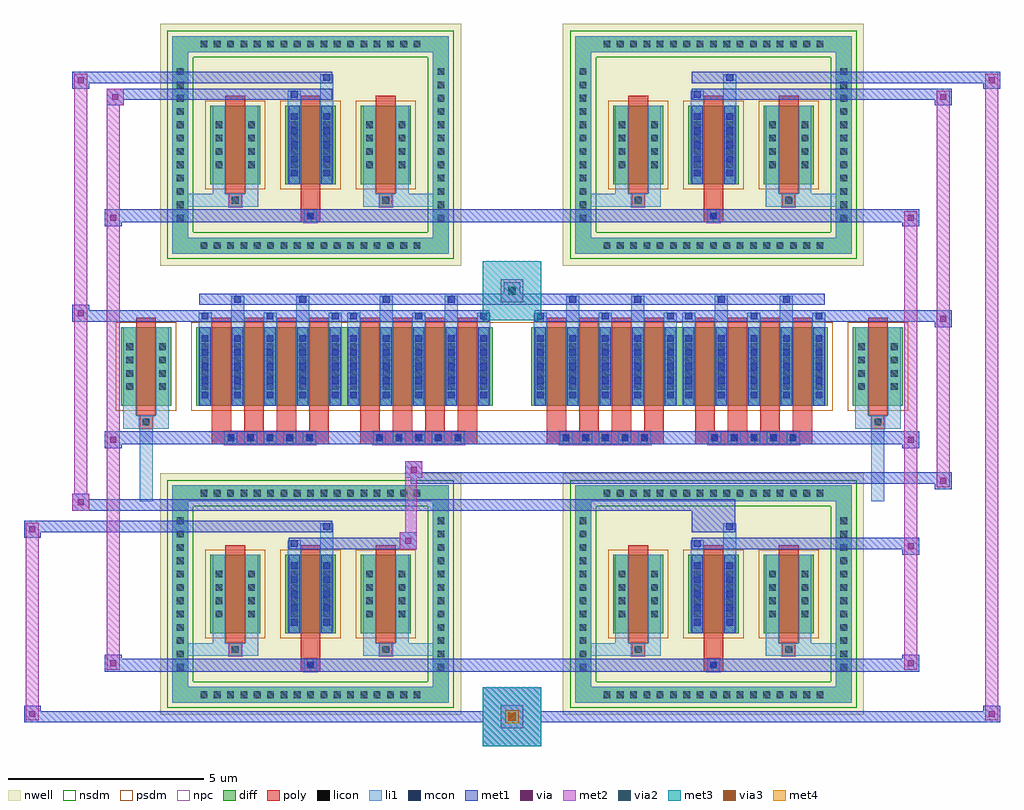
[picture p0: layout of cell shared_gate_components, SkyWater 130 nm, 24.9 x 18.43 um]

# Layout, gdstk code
import gdstk
lib = gdstk.Library(unit=1e-6, precision=5e-09)
def R(c, l, rs):  # rectangles x0, y0, x1, y1
    for r in rs: c.add(gdstk.rectangle(r[:2], r[2:], *l))
def A(c, l, x, y, w, h, nx, ny, dx, dy):  # array of equal rectangles
    R(c, l, [(x+i*dx, y+j*dy, x+i*dx+w, y+j*dy+h) for i in range(nx) for j in range(ny)])
def P(c, l, *ps):  # polygons
    for p in ps: c.add(gdstk.Polygon(p, *l))
nwell = (64, 20)
diff = (65, 20)
poly = (66, 20)
licon = (66, 44)
li1 = (67, 20)
mcon = (67, 44)
met1 = (68, 20)
via = (68, 44)
met2 = (69, 20)
via2 = (69, 44)
met3 = (70, 20)
via3 = (70, 44)
met4 = (71, 20)
nsdm = (93, 44)
psdm = (94, 20)
npc = (95, 20)

multiplier_4986c36a = lib.new_cell('multiplier_4986c36a')
R(multiplier_4986c36a, diff, [(-3.805,-1,-2.525,1), (-1.885,-1,1.885,1)])
A(multiplier_4986c36a, poly, -1.165, -1.98, 0.33, 0.33, 5, 1, 0.5, 0)
A(multiplier_4986c36a, poly, -1.495, -1.65, 0.5, 0.4, 4, 1, 0.83, 0)
A(multiplier_4986c36a, poly, -1.495, -1.25, 0.5, 2.5, 4, 1, 0.83, 0)
R(multiplier_4986c36a, poly, [(-1.495,-1.98,1.495,-1.65), (-3.33,-1.58,-3,-1.25), (-3.33,-1.58,-3,-1.25), (-3.415,-1.25,-2.915,1.25)])
A(multiplier_4986c36a, licon, -1.085, -1.9, 0.17, 0.17, 5, 1, 0.5, 0)
A(multiplier_4986c36a, licon, -3.665, -0.595, 0.17, 0.17, 1, 4, 0, 0.34)
A(multiplier_4986c36a, licon, -2.835, -0.595, 0.17, 0.17, 1, 4, 0, 0.34)
A(multiplier_4986c36a, licon, -1.745, -0.595, 0.17, 0.17, 5, 4, 0.83, 0.34)
R(multiplier_4986c36a, licon, [(-3.25,-1.5,-3.08,-1.33)])
A(multiplier_4986c36a, li1, -1.165, -1.98, 0.33, 0.33, 5, 1, 0.5, 0)
A(multiplier_4986c36a, li1, -1.825, -1, 0.33, 2, 5, 1, 0.83, 0)
A(multiplier_4986c36a, li1, -1.745, -0.805, 0.17, 0.17, 5, 5, 0.83, 0.36)
A(multiplier_4986c36a, li1, -1.745, -0.805, 0.17, 1.61, 5, 1, 0.83, 0)
A(multiplier_4986c36a, li1, -3.745, -0.675, 0.33, 0.33, 1, 4, 0, 0.34)
A(multiplier_4986c36a, li1, -2.915, -0.675, 0.33, 0.33, 1, 4, 0, 0.34)
A(multiplier_4986c36a, li1, -1.825, -0.675, 0.33, 0.33, 5, 4, 0.83, 0.34)
A(multiplier_4986c36a, li1, -1.825, 1, 0.33, 0.375, 3, 1, 1.66, 0)
A(multiplier_4986c36a, li1, -1.745, 1.205, 0.17, 0.17, 3, 1, 1.66, 0)
R(multiplier_4986c36a, li1, [(-3.745,-1.58,-3.33,-1.25), (-3.745,-1.58,-3.415,-1), (-3.33,-1.58,-3,-1.25), (-3,-1.58,-2.585,-1.25), (-2.915,-1.58,-2.585,-1), (-3.745,-1,-3.415,1), (-2.915,-1,-2.585,1), (-0.995,1,-0.665,1.805), (0.665,1,0.995,1.805), (-0.915,1.635,-0.745,1.805), (0.745,1.635,0.915,1.805)])
A(multiplier_4986c36a, mcon, -1.085, -1.9, 0.17, 0.17, 5, 1, 0.5, 0)
A(multiplier_4986c36a, mcon, -1.745, -0.805, 0.17, 0.17, 5, 5, 0.83, 0.36)
A(multiplier_4986c36a, mcon, -1.745, 1.205, 0.17, 0.17, 3, 1, 1.66, 0)
R(multiplier_4986c36a, mcon, [(-0.915,1.635,-0.745,1.805), (0.745,1.635,0.915,1.805)])
A(multiplier_4986c36a, met1, -1.145, -1.96, 0.29, 0.29, 5, 1, 0.5, 0)
A(multiplier_4986c36a, met1, -1.805, -1, 0.29, 2, 5, 1, 0.83, 0)
A(multiplier_4986c36a, met1, -1.805, -0.865, 0.29, 0.29, 5, 5, 0.83, 0.36)
A(multiplier_4986c36a, met1, -1.805, 1.145, 0.29, 0.29, 3, 1, 1.66, 0)
R(multiplier_4986c36a, met1, [(-1.495,-1.98,1.495,-1.65), (-1.805,1.145,1.805,1.435), (-1.805,1.575,1.805,1.865), (-0.975,1.575,-0.685,1.865), (0.685,1.575,0.975,1.865)])
R(multiplier_4986c36a, psdm, [(-3.935,-1.13,-2.395,1.13), (-2.015,-1.13,2.015,1.13)])
A(multiplier_4986c36a, npc, -1.185, -2, 0.37, 0.37, 5, 1, 0.5, 0)
R(multiplier_4986c36a, npc, [(-1.185,-2,-0.315,-1.63), (-1.185,-2,-0.315,-1.63), (-0.685,-2,0.185,-1.63), (-0.685,-2,0.185,-1.63), (-0.185,-2,0.685,-1.63), (-0.185,-2,0.685,-1.63), (0.315,-2,1.185,-1.63), (0.315,-2,1.185,-1.63), (-3.35,-1.6,-2.98,-1.23)])

multiplier_959d3e46 = lib.new_cell('multiplier_959d3e46')
R(multiplier_959d3e46, diff, [(-1.885,-1,1.885,1)])
A(multiplier_959d3e46, poly, -1.165, -1.98, 0.33, 0.33, 5, 1, 0.5, 0)
A(multiplier_959d3e46, poly, -1.495, -1.65, 0.5, 0.4, 4, 1, 0.83, 0)
A(multiplier_959d3e46, poly, -1.495, -1.25, 0.5, 2.5, 4, 1, 0.83, 0)
R(multiplier_959d3e46, poly, [(-1.495,-1.98,1.495,-1.65)])
A(multiplier_959d3e46, licon, -1.085, -1.9, 0.17, 0.17, 5, 1, 0.5, 0)
A(multiplier_959d3e46, licon, -1.745, -0.595, 0.17, 0.17, 5, 4, 0.83, 0.34)
A(multiplier_959d3e46, li1, -1.165, -1.98, 0.33, 0.33, 5, 1, 0.5, 0)
A(multiplier_959d3e46, li1, -1.825, -1, 0.33, 2, 5, 1, 0.83, 0)
A(multiplier_959d3e46, li1, -1.745, -0.805, 0.17, 0.17, 5, 5, 0.83, 0.36)
A(multiplier_959d3e46, li1, -1.745, -0.805, 0.17, 1.61, 5, 1, 0.83, 0)
A(multiplier_959d3e46, li1, -1.825, -0.675, 0.33, 0.33, 5, 4, 0.83, 0.34)
A(multiplier_959d3e46, li1, -1.825, 1, 0.33, 0.375, 3, 1, 1.66, 0)
A(multiplier_959d3e46, li1, -1.745, 1.205, 0.17, 0.17, 3, 1, 1.66, 0)
R(multiplier_959d3e46, li1, [(-0.995,1,-0.665,1.805), (0.665,1,0.995,1.805), (-0.915,1.635,-0.745,1.805), (0.745,1.635,0.915,1.805)])
A(multiplier_959d3e46, mcon, -1.085, -1.9, 0.17, 0.17, 5, 1, 0.5, 0)
A(multiplier_959d3e46, mcon, -1.745, -0.805, 0.17, 0.17, 5, 5, 0.83, 0.36)
A(multiplier_959d3e46, mcon, -1.745, 1.205, 0.17, 0.17, 3, 1, 1.66, 0)
R(multiplier_959d3e46, mcon, [(-0.915,1.635,-0.745,1.805), (0.745,1.635,0.915,1.805)])
A(multiplier_959d3e46, met1, -1.145, -1.96, 0.29, 0.29, 5, 1, 0.5, 0)
A(multiplier_959d3e46, met1, -1.805, -1, 0.29, 2, 5, 1, 0.83, 0)
A(multiplier_959d3e46, met1, -1.805, -0.865, 0.29, 0.29, 5, 5, 0.83, 0.36)
A(multiplier_959d3e46, met1, -1.805, 1.145, 0.29, 0.29, 3, 1, 1.66, 0)
R(multiplier_959d3e46, met1, [(-1.495,-1.98,1.495,-1.65), (-1.805,1.145,1.805,1.435), (-1.805,1.575,1.805,1.865), (-0.975,1.575,-0.685,1.865), (0.685,1.575,0.975,1.865)])
R(multiplier_959d3e46, psdm, [(-2.015,-1.13,2.015,1.13)])
A(multiplier_959d3e46, npc, -1.185, -2, 0.37, 0.37, 5, 1, 0.5, 0)
R(multiplier_959d3e46, npc, [(-1.185,-2,-0.315,-1.63), (-1.185,-2,-0.315,-1.63), (-0.685,-2,0.185,-1.63), (-0.685,-2,0.185,-1.63), (-0.185,-2,0.685,-1.63), (-0.185,-2,0.685,-1.63), (0.315,-2,1.185,-1.63), (0.315,-2,1.185,-1.63)])

multiplier_8fab6b0f = lib.new_cell('multiplier_8fab6b0f')
R(multiplier_8fab6b0f, diff, [(-1.885,-1,1.885,1), (2.525,-1,3.805,1)])
A(multiplier_8fab6b0f, poly, -1.165, -1.98, 0.33, 0.33, 5, 1, 0.5, 0)
A(multiplier_8fab6b0f, poly, -1.495, -1.65, 0.5, 0.4, 4, 1, 0.83, 0)
A(multiplier_8fab6b0f, poly, -1.495, -1.25, 0.5, 2.5, 4, 1, 0.83, 0)
R(multiplier_8fab6b0f, poly, [(-1.495,-1.98,1.495,-1.65), (3,-1.58,3.33,-1.25), (3,-1.58,3.33,-1.25), (2.915,-1.25,3.415,1.25)])
A(multiplier_8fab6b0f, licon, -1.085, -1.9, 0.17, 0.17, 5, 1, 0.5, 0)
A(multiplier_8fab6b0f, licon, -1.745, -0.595, 0.17, 0.17, 5, 4, 0.83, 0.34)
A(multiplier_8fab6b0f, licon, 2.665, -0.595, 0.17, 0.17, 1, 4, 0, 0.34)
A(multiplier_8fab6b0f, licon, 3.495, -0.595, 0.17, 0.17, 1, 4, 0, 0.34)
R(multiplier_8fab6b0f, licon, [(3.08,-1.5,3.25,-1.33)])
A(multiplier_8fab6b0f, li1, -1.165, -1.98, 0.33, 0.33, 5, 1, 0.5, 0)
A(multiplier_8fab6b0f, li1, -1.825, -1, 0.33, 2, 5, 1, 0.83, 0)
A(multiplier_8fab6b0f, li1, -1.745, -0.805, 0.17, 0.17, 5, 5, 0.83, 0.36)
A(multiplier_8fab6b0f, li1, -1.745, -0.805, 0.17, 1.61, 5, 1, 0.83, 0)
A(multiplier_8fab6b0f, li1, -1.825, -0.675, 0.33, 0.33, 5, 4, 0.83, 0.34)
A(multiplier_8fab6b0f, li1, 2.585, -0.675, 0.33, 0.33, 1, 4, 0, 0.34)
A(multiplier_8fab6b0f, li1, 3.415, -0.675, 0.33, 0.33, 1, 4, 0, 0.34)
A(multiplier_8fab6b0f, li1, -1.825, 1, 0.33, 0.375, 3, 1, 1.66, 0)
A(multiplier_8fab6b0f, li1, -1.745, 1.205, 0.17, 0.17, 3, 1, 1.66, 0)
R(multiplier_8fab6b0f, li1, [(2.585,-1.58,3,-1.25), (2.585,-1.58,2.915,-1), (3,-1.58,3.33,-1.25), (3.33,-1.58,3.745,-1.25), (3.415,-1.58,3.745,-1), (2.585,-1,2.915,1), (3.415,-1,3.745,1), (-0.995,1,-0.665,1.805), (0.665,1,0.995,1.805), (-0.915,1.635,-0.745,1.805), (0.745,1.635,0.915,1.805)])
A(multiplier_8fab6b0f, mcon, -1.085, -1.9, 0.17, 0.17, 5, 1, 0.5, 0)
A(multiplier_8fab6b0f, mcon, -1.745, -0.805, 0.17, 0.17, 5, 5, 0.83, 0.36)
A(multiplier_8fab6b0f, mcon, -1.745, 1.205, 0.17, 0.17, 3, 1, 1.66, 0)
R(multiplier_8fab6b0f, mcon, [(-0.915,1.635,-0.745,1.805), (0.745,1.635,0.915,1.805)])
A(multiplier_8fab6b0f, met1, -1.145, -1.96, 0.29, 0.29, 5, 1, 0.5, 0)
A(multiplier_8fab6b0f, met1, -1.805, -1, 0.29, 2, 5, 1, 0.83, 0)
A(multiplier_8fab6b0f, met1, -1.805, -0.865, 0.29, 0.29, 5, 5, 0.83, 0.36)
A(multiplier_8fab6b0f, met1, -1.805, 1.145, 0.29, 0.29, 3, 1, 1.66, 0)
R(multiplier_8fab6b0f, met1, [(-1.495,-1.98,1.495,-1.65), (-1.805,1.145,1.805,1.435), (-1.805,1.575,1.805,1.865), (-0.975,1.575,-0.685,1.865), (0.685,1.575,0.975,1.865)])
R(multiplier_8fab6b0f, psdm, [(-2.015,-1.13,2.015,1.13), (2.395,-1.13,3.935,1.13)])
A(multiplier_8fab6b0f, npc, -1.185, -2, 0.37, 0.37, 5, 1, 0.5, 0)
R(multiplier_8fab6b0f, npc, [(-1.185,-2,-0.315,-1.63), (-1.185,-2,-0.315,-1.63), (-0.685,-2,0.185,-1.63), (-0.685,-2,0.185,-1.63), (-0.185,-2,0.685,-1.63), (-0.185,-2,0.685,-1.63), (0.315,-2,1.185,-1.63), (0.315,-2,1.185,-1.63), (2.98,-1.6,3.35,-1.23)])

unnamed_2d303e80_1 = lib.new_cell('Unnamed_2d303e80$1')
A(unnamed_2d303e80_1, diff, -2.925, -2.775, 0.41, 0.41, 17, 2, 0.34, 5.14)
A(unnamed_2d303e80_1, diff, -3.53, -2.075, 0.41, 0.41, 1, 12, 0, 0.34)
A(unnamed_2d303e80_1, diff, 3.12, -2.075, 0.41, 0.41, 1, 12, 0, 0.34)
R(unnamed_2d303e80_1, diff, [(-2.925,-2.775,2.925,-2.365), (-3.53,-2.075,-3.12,2.075), (3.12,-2.075,3.53,2.075), (-2.925,2.365,2.925,2.775)])
P(unnamed_2d303e80_1, diff, [(3.53,2.775),(-3.53,2.775),(-3.53,-2.365),(-3.12,-2.365),(-3.12,2.365),(3.12,2.365),(3.12,-2.365),(-3.12,-2.365),(-3.53,-2.365),(-3.53,-2.775),(3.53,-2.775)])
A(unnamed_2d303e80_1, licon, -2.805, -2.655, 0.17, 0.17, 17, 2, 0.34, 5.14)
A(unnamed_2d303e80_1, licon, -3.41, -1.955, 0.17, 0.17, 1, 12, 0, 0.34)
A(unnamed_2d303e80_1, licon, 3.24, -1.955, 0.17, 0.17, 1, 12, 0, 0.34)
A(unnamed_2d303e80_1, li1, -2.885, -2.735, 0.33, 0.33, 17, 2, 0.34, 5.14)
A(unnamed_2d303e80_1, li1, -3.49, -2.035, 0.33, 0.33, 1, 12, 0, 0.34)
A(unnamed_2d303e80_1, li1, 3.16, -2.035, 0.33, 0.33, 1, 12, 0, 0.34)
R(unnamed_2d303e80_1, li1, [(-3.53,-2.775,-3.12,-2.365), (-3.53,-2.775,-3.12,-2.365), (-3.12,-2.775,3.12,-2.365), (3.12,-2.775,3.53,-2.365), (3.12,-2.775,3.53,-2.365), (-3.53,-2.365,-3.12,2.365), (3.12,-2.365,3.53,2.365), (-3.53,2.365,-3.12,2.775), (-3.53,2.365,-3.12,2.775), (-3.12,2.365,3.12,2.775), (3.12,2.365,3.53,2.775), (3.12,2.365,3.53,2.775)])
P(unnamed_2d303e80_1, nsdm, [(3.66,2.905),(-3.66,2.905),(-3.66,-2.235),(-2.99,-2.235),(-2.99,2.235),(2.99,2.235),(2.99,-2.235),(-2.99,-2.235),(-3.66,-2.235),(-3.66,-2.905),(3.66,-2.905)])

straight_route_0b395972 = lib.new_cell('straight_route_0b395972')
R(straight_route_0b395972, li1, [(-3.53,-1.58,-2.085,-1.25)])

straight_route_5341af15 = lib.new_cell('straight_route_5341af15')
R(straight_route_5341af15, li1, [(1.755,-1.58,3.53,-1.25)])

unnamed_e9a9d08d = lib.new_cell('Unnamed_e9a9d08d')
R(unnamed_e9a9d08d, nwell, [(-3.84,-3.085,3.84,3.085)])
A(unnamed_e9a9d08d, diff, -2.56, -1, 1.28, 2, 3, 1, 1.92, 0)
A(unnamed_e9a9d08d, poly, -2.17, -1.25, 0.5, 2.5, 3, 1, 1.92, 0)
R(unnamed_e9a9d08d, poly, [(-0.25,-1.98,0.25,-1.65), (-0.165,-1.98,0.165,-1.65), (-0.25,-1.65,0.25,-1.25), (-2.085,-1.58,-1.755,-1.25), (-2.085,-1.58,-1.755,-1.25), (1.755,-1.58,2.085,-1.25), (1.755,-1.58,2.085,-1.25)])
A(unnamed_e9a9d08d, licon, -2.42, -0.595, 0.17, 0.17, 1, 4, 0, 0.34)
A(unnamed_e9a9d08d, licon, -1.59, -0.595, 0.17, 0.17, 1, 4, 0, 0.34)
A(unnamed_e9a9d08d, licon, -0.5, -0.595, 0.17, 0.17, 1, 4, 0, 0.34)
A(unnamed_e9a9d08d, licon, 0.33, -0.595, 0.17, 0.17, 1, 4, 0, 0.34)
A(unnamed_e9a9d08d, licon, 1.42, -0.595, 0.17, 0.17, 1, 4, 0, 0.34)
A(unnamed_e9a9d08d, licon, 2.25, -0.595, 0.17, 0.17, 1, 4, 0, 0.34)
R(unnamed_e9a9d08d, licon, [(-0.085,-1.9,0.085,-1.73), (-2.005,-1.5,-1.835,-1.33), (1.835,-1.5,2.005,-1.33)])
A(unnamed_e9a9d08d, li1, -0.5, -0.805, 0.17, 0.17, 1, 5, 0, 0.36)
A(unnamed_e9a9d08d, li1, 0.33, -0.805, 0.17, 0.17, 1, 5, 0, 0.36)
A(unnamed_e9a9d08d, li1, -2.5, -0.675, 0.33, 0.33, 1, 4, 0, 0.34)
A(unnamed_e9a9d08d, li1, -1.67, -0.675, 0.33, 0.33, 1, 4, 0, 0.34)
A(unnamed_e9a9d08d, li1, -0.58, -0.675, 0.33, 0.33, 1, 4, 0, 0.34)
A(unnamed_e9a9d08d, li1, 0.25, -0.675, 0.33, 0.33, 1, 4, 0, 0.34)
A(unnamed_e9a9d08d, li1, 1.34, -0.675, 0.33, 0.33, 1, 4, 0, 0.34)
A(unnamed_e9a9d08d, li1, 2.17, -0.675, 0.33, 0.33, 1, 4, 0, 0.34)
R(unnamed_e9a9d08d, li1, [(-0.165,-1.98,0.165,-1.65), (-2.5,-1.58,-2.085,-1.25), (-2.5,-1.58,-2.17,-1), (-2.085,-1.58,-1.755,-1.25), (-1.755,-1.58,-1.34,-1.25), (-1.67,-1.58,-1.34,-1), (1.34,-1.58,1.755,-1.25), (1.34,-1.58,1.67,-1), (1.755,-1.58,2.085,-1.25), (2.085,-1.58,2.5,-1.25), (2.17,-1.58,2.5,-1), (-2.5,-1,-2.17,1), (-1.67,-1,-1.34,1), (-0.58,-1,-0.25,1), (0.25,-1,0.58,1), (1.34,-1,1.67,1), (2.17,-1,2.5,1), (-0.5,-0.805,-0.33,0.805), (0.33,-0.805,0.5,0.805), (-0.58,1,-0.25,1.375), (0.25,1,0.58,1.805), (-0.5,1.205,-0.33,1.375), (0.33,1.635,0.5,1.805)])
A(unnamed_e9a9d08d, mcon, -0.5, -0.805, 0.17, 0.17, 1, 5, 0, 0.36)
A(unnamed_e9a9d08d, mcon, 0.33, -0.805, 0.17, 0.17, 1, 5, 0, 0.36)
R(unnamed_e9a9d08d, mcon, [(-0.085,-1.9,0.085,-1.73), (-0.5,1.205,-0.33,1.375), (0.33,1.635,0.5,1.805)])
A(unnamed_e9a9d08d, met1, -0.56, -0.865, 0.29, 0.29, 1, 5, 0, 0.36)
A(unnamed_e9a9d08d, met1, 0.27, -0.865, 0.29, 0.29, 1, 5, 0, 0.36)
R(unnamed_e9a9d08d, met1, [(-0.25,-1.98,0.25,-1.65), (-0.145,-1.96,0.145,-1.67), (-0.56,-1,-0.27,1), (0.27,-1,0.56,1), (-0.56,1.145,-0.27,1.435), (-0.56,1.145,0.56,1.435), (-0.56,1.575,0.56,1.865), (0.27,1.575,0.56,1.865)])
A(unnamed_e9a9d08d, psdm, -2.69, -1.13, 1.54, 2.26, 3, 1, 1.92, 0)
R(unnamed_e9a9d08d, npc, [(-0.185,-2,0.185,-1.63), (-2.105,-1.6,-1.735,-1.23), (1.735,-1.6,2.105,-1.23)])
unnamed_e9a9d08d.add(gdstk.Reference(unnamed_2d303e80_1, (0,0)))
unnamed_e9a9d08d.add(gdstk.Reference(straight_route_0b395972, (0,0)))
unnamed_e9a9d08d.add(gdstk.Reference(straight_route_5341af15, (0,0)))

unnamed_49e89d6f = lib.new_cell('Unnamed_49e89d6f')
R(unnamed_49e89d6f, nwell, [(-3.84,-3.085,3.84,3.085)])
A(unnamed_49e89d6f, diff, -2.56, -1, 1.28, 2, 3, 1, 1.92, 0)
A(unnamed_49e89d6f, poly, -2.17, -1.25, 0.5, 2.5, 3, 1, 1.92, 0)
R(unnamed_49e89d6f, poly, [(-0.25,-1.98,0.25,-1.65), (-0.165,-1.98,0.165,-1.65), (-0.25,-1.65,0.25,-1.25), (-2.085,-1.58,-1.755,-1.25), (-2.085,-1.58,-1.755,-1.25), (1.755,-1.58,2.085,-1.25), (1.755,-1.58,2.085,-1.25)])
A(unnamed_49e89d6f, licon, -2.42, -0.595, 0.17, 0.17, 1, 4, 0, 0.34)
A(unnamed_49e89d6f, licon, -1.59, -0.595, 0.17, 0.17, 1, 4, 0, 0.34)
A(unnamed_49e89d6f, licon, -0.5, -0.595, 0.17, 0.17, 1, 4, 0, 0.34)
A(unnamed_49e89d6f, licon, 0.33, -0.595, 0.17, 0.17, 1, 4, 0, 0.34)
A(unnamed_49e89d6f, licon, 1.42, -0.595, 0.17, 0.17, 1, 4, 0, 0.34)
A(unnamed_49e89d6f, licon, 2.25, -0.595, 0.17, 0.17, 1, 4, 0, 0.34)
R(unnamed_49e89d6f, licon, [(-0.085,-1.9,0.085,-1.73), (-2.005,-1.5,-1.835,-1.33), (1.835,-1.5,2.005,-1.33)])
A(unnamed_49e89d6f, li1, -0.5, -0.805, 0.17, 0.17, 1, 5, 0, 0.36)
A(unnamed_49e89d6f, li1, 0.33, -0.805, 0.17, 0.17, 1, 5, 0, 0.36)
A(unnamed_49e89d6f, li1, -2.5, -0.675, 0.33, 0.33, 1, 4, 0, 0.34)
A(unnamed_49e89d6f, li1, -1.67, -0.675, 0.33, 0.33, 1, 4, 0, 0.34)
A(unnamed_49e89d6f, li1, -0.58, -0.675, 0.33, 0.33, 1, 4, 0, 0.34)
A(unnamed_49e89d6f, li1, 0.25, -0.675, 0.33, 0.33, 1, 4, 0, 0.34)
A(unnamed_49e89d6f, li1, 1.34, -0.675, 0.33, 0.33, 1, 4, 0, 0.34)
A(unnamed_49e89d6f, li1, 2.17, -0.675, 0.33, 0.33, 1, 4, 0, 0.34)
R(unnamed_49e89d6f, li1, [(-0.165,-1.98,0.165,-1.65), (-2.5,-1.58,-2.085,-1.25), (-2.5,-1.58,-2.17,-1), (-2.085,-1.58,-1.755,-1.25), (-1.755,-1.58,-1.34,-1.25), (-1.67,-1.58,-1.34,-1), (1.34,-1.58,1.755,-1.25), (1.34,-1.58,1.67,-1), (1.755,-1.58,2.085,-1.25), (2.085,-1.58,2.5,-1.25), (2.17,-1.58,2.5,-1), (-2.5,-1,-2.17,1), (-1.67,-1,-1.34,1), (-0.58,-1,-0.25,1), (0.25,-1,0.58,1), (1.34,-1,1.67,1), (2.17,-1,2.5,1), (-0.5,-0.805,-0.33,0.805), (0.33,-0.805,0.5,0.805), (-0.58,1,-0.25,1.375), (0.25,1,0.58,1.805), (-0.5,1.205,-0.33,1.375), (0.33,1.635,0.5,1.805)])
A(unnamed_49e89d6f, mcon, -0.5, -0.805, 0.17, 0.17, 1, 5, 0, 0.36)
A(unnamed_49e89d6f, mcon, 0.33, -0.805, 0.17, 0.17, 1, 5, 0, 0.36)
R(unnamed_49e89d6f, mcon, [(-0.085,-1.9,0.085,-1.73), (-0.5,1.205,-0.33,1.375), (0.33,1.635,0.5,1.805)])
A(unnamed_49e89d6f, met1, -0.56, -0.865, 0.29, 0.29, 1, 5, 0, 0.36)
A(unnamed_49e89d6f, met1, 0.27, -0.865, 0.29, 0.29, 1, 5, 0, 0.36)
R(unnamed_49e89d6f, met1, [(-0.25,-1.98,0.25,-1.65), (-0.145,-1.96,0.145,-1.67), (-0.56,-1,-0.27,1), (0.27,-1,0.56,1), (-0.56,1.145,-0.27,1.435), (-0.56,1.145,0.56,1.435), (-0.56,1.575,0.56,1.865), (0.27,1.575,0.56,1.865)])
A(unnamed_49e89d6f, psdm, -2.69, -1.13, 1.54, 2.26, 3, 1, 1.92, 0)
R(unnamed_49e89d6f, npc, [(-0.185,-2,0.185,-1.63), (-2.105,-1.6,-1.735,-1.23), (1.735,-1.6,2.105,-1.23)])
unnamed_49e89d6f.add(gdstk.Reference(unnamed_2d303e80_1, (0,0)))
unnamed_49e89d6f.add(gdstk.Reference(straight_route_0b395972, (0,0)))
unnamed_49e89d6f.add(gdstk.Reference(straight_route_5341af15, (0,0)))

route_quad_7229aff3 = lib.new_cell('route_quad_7229aff3')
R(route_quad_7229aff3, met1, [(-5.39,-1.98,5.39,-1.65)])

c_2_multiplier_shared_gate = lib.new_cell('2_multiplier_shared_gate_comps')
c_2_multiplier_shared_gate.add(gdstk.Reference(unnamed_e9a9d08d, (-5.14,0)))
c_2_multiplier_shared_gate.add(gdstk.Reference(unnamed_49e89d6f, (5.14,0)))
c_2_multiplier_shared_gate.add(gdstk.Reference(route_quad_7229aff3, (0,0)))

straight_route_f8080a40 = lib.new_cell('straight_route_f8080a40')
R(straight_route_f8080a40, li1, [(-9.5,-3.365,-9.17,-1.18)])

straight_route_f2448084 = lib.new_cell('straight_route_f2448084')
R(straight_route_f2448084, li1, [(9.17,-3.365,9.5,-1.18)])

route_quad_57c62cf1 = lib.new_cell('route_quad_57c62cf1')
R(route_quad_57c62cf1, psdm, [(-8.185,-1.06,8.185,1.2)])

route_quad_e3deefbc = lib.new_cell('route_quad_e3deefbc')
R(route_quad_e3deefbc, met1, [(-7.975,1.215,-0.575,1.505)])

route_quad_7fa40f03 = lib.new_cell('route_quad_7fa40f03')
R(route_quad_7fa40f03, met1, [(0.575,1.215,7.975,1.505)])

route_quad_b2d2a3af = lib.new_cell('route_quad_b2d2a3af')
R(route_quad_b2d2a3af, met1, [(-7.975,1.645,7.975,1.935)])

via_stack_78128d58 = lib.new_cell('via_stack_78128d58')
R(via_stack_78128d58, met1, [(-0.215,-0.215,0.215,0.215)])
R(via_stack_78128d58, via, [(-0.075,-0.075,0.075,0.075)])
R(via_stack_78128d58, met2, [(-0.29,-0.29,0.29,0.29)])
R(via_stack_78128d58, via2, [(-0.1,-0.1,0.1,0.1)])
R(via_stack_78128d58, met3, [(-0.75,-0.75,0.75,0.75)])

route_quad_0aa4d09d = lib.new_cell('route_quad_0aa4d09d')
R(route_quad_0aa4d09d, met1, [(-7.665,-1.91,7.665,-1.58)])

c_route_1f2bf46b = lib.new_cell('c_route_1f2bf46b')
R(c_route_1f2bf46b, met1, [(-10.39,-7.71,-5.39,-7.38), (-10.39,-7.71,-9.96,-7.28), (-10.39,3.65,-9.96,4.08), (-10.39,3.75,-5.39,4.08)])
R(c_route_1f2bf46b, via, [(-10.25,-7.57,-10.1,-7.42), (-10.25,3.79,-10.1,3.94)])
R(c_route_1f2bf46b, met2, [(-10.34,-7.66,-10.01,-7.33), (-10.34,-7.66,-10.01,4.03), (-10.34,3.7,-10.01,4.03)])
P(c_route_1f2bf46b, met2, [(-10.01,-7.66),(-10.01,-7.66),(-10.01,-7.33),(-10.01,-7.33)],
  [(-10.01,3.7),(-10.01,3.7),(-10.01,4.03),(-10.01,4.03)])

c_route_f2792d0d = lib.new_cell('c_route_f2792d0d')
R(c_route_f2792d0d, met1, [(5.39,-7.71,10.39,-7.38), (9.96,-7.71,10.39,-7.28), (9.96,3.65,10.39,4.08), (5.39,3.75,10.39,4.08)])
R(c_route_f2792d0d, via, [(10.1,-7.57,10.25,-7.42), (10.1,3.79,10.25,3.94)])
R(c_route_f2792d0d, met2, [(10.01,-7.66,10.34,-7.33), (10.01,-7.66,10.34,4.03), (10.01,3.7,10.34,4.03)])
P(c_route_f2792d0d, met2, [(10.34,-7.66),(10.34,-7.66),(10.34,-7.33),(10.34,-7.33)],
  [(10.34,3.7),(10.34,3.7),(10.34,4.03),(10.34,4.03)])

straight_route_4a56aab8 = lib.new_cell('straight_route_4a56aab8')
R(straight_route_4a56aab8, met1, [(-10.39,-2.01,-9.96,-1.58), (-10.175,-1.91,-7.665,-1.58)])
R(straight_route_4a56aab8, via, [(-10.25,-1.87,-10.1,-1.72)])
R(straight_route_4a56aab8, met2, [(-10.34,-1.96,-10.01,-1.63)])

straight_route_7cc3166f = lib.new_cell('straight_route_7cc3166f')
R(straight_route_7cc3166f, met1, [(9.96,-2.01,10.39,-1.58), (7.665,-1.91,10.175,-1.58)])
R(straight_route_7cc3166f, via, [(10.1,-1.87,10.25,-1.72)])
R(straight_route_7cc3166f, met2, [(10.01,-1.96,10.34,-1.63)])

l_route_c565a16c = lib.new_cell('L_route_c565a16c')
R(l_route_c565a16c, met1, [(-10.34,6.735,-9.91,7.165), (-10.34,6.735,-9.91,7.165), (-10.34,6.875,-5.7,7.165)])
R(l_route_c565a16c, via, [(-10.2,6.875,-10.05,7.025)])
R(l_route_c565a16c, met2, [(-10.34,4.03,-10.01,7.165), (-10.34,6.735,-9.91,7.165), (-10.29,6.785,-9.96,7.115)])

straight_route_10940f7b = lib.new_cell('straight_route_10940f7b')
R(straight_route_10940f7b, met1, [(9.96,-4.725,10.39,-4.295), (5.7,-4.585,10.175,-4.295)])
R(straight_route_10940f7b, via, [(10.1,-4.585,10.25,-4.435)])
R(straight_route_10940f7b, met2, [(10.01,-4.675,10.34,-4.345)])

c_route_be60ab30 = lib.new_cell('c_route_be60ab30')
R(c_route_be60ab30, met1, [(-11.22,1.215,-10.79,1.645), (-11.22,1.215,-7.975,1.505), (-11.22,7.165,-10.79,7.595), (-11.22,7.305,-5.7,7.595)])
R(c_route_be60ab30, via, [(-11.08,1.355,-10.93,1.505), (-11.08,7.305,-10.93,7.455)])
R(c_route_be60ab30, met2, [(-11.17,1.265,-10.84,1.595), (-11.17,1.265,-10.84,7.545), (-11.17,7.215,-10.84,7.545)])
P(c_route_be60ab30, met2, [(-10.84,1.265),(-10.84,1.265),(-10.84,1.595),(-10.84,1.595)],
  [(-10.84,7.215),(-10.84,7.215),(-10.84,7.545),(-10.84,7.545)])

compass_ffdf3b25_1 = lib.new_cell('compass_ffdf3b25$1')
R(compass_ffdf3b25_1, met1, [(-0.56,-0.145,0.56,0.145)])

unnamed_87dc03cf = lib.new_cell('Unnamed_87dc03cf')
unnamed_87dc03cf.add(gdstk.Reference(compass_ffdf3b25_1, (0.56,0.145)))

straight_route_dfcc8ceb = lib.new_cell('straight_route_dfcc8ceb')
R(straight_route_dfcc8ceb, met1, [(4.58,-3.865,5.7,-3.605)])

l_route_fee57e38 = lib.new_cell('L_route_fee57e38')
R(l_route_fee57e38, met1, [(-11.22,-3.605,-10.79,-3.175), (-11.22,-3.605,-10.79,-3.175), (-11.17,-3.605,4.58,-3.315)])
R(l_route_fee57e38, via, [(-11.08,-3.465,-10.93,-3.315)])
R(l_route_fee57e38, met2, [(-11.22,-3.605,-10.79,-3.175), (-11.17,-3.605,-10.84,1.265), (-11.17,-3.555,-10.84,-3.225)])

c_route_1b7dc996 = lib.new_cell('c_route_1b7dc996')
R(c_route_1b7dc996, met1, [(10.79,1.075,11.22,1.505), (7.975,1.215,11.22,1.505), (10.79,6.735,11.22,7.165), (5.7,6.875,11.22,7.165)])
R(c_route_1b7dc996, via, [(10.93,1.215,11.08,1.365), (10.93,6.875,11.08,7.025)])
R(c_route_1b7dc996, met2, [(10.84,1.125,11.17,1.455), (10.84,1.125,11.17,7.115), (10.84,6.785,11.17,7.115)])
P(c_route_1b7dc996, met2, [(11.17,1.125),(11.17,1.125),(11.17,1.455),(11.17,1.455)],
  [(11.17,6.785),(11.17,6.785),(11.17,7.115),(11.17,7.115)])

l_route_8ffb441c = lib.new_cell('L_route_8ffb441c')
R(l_route_8ffb441c, met1, [(-4.58,-4.585,-2.435,-4.295), (-2.865,-4.585,-2.435,-4.155), (-2.865,-4.585,-2.435,-4.155)])
R(l_route_8ffb441c, via, [(-2.725,-4.445,-2.575,-4.295)])
R(l_route_8ffb441c, met2, [(-2.865,-4.585,-2.435,-4.155), (-2.725,-4.585,-2.435,-2.77), (-2.815,-4.535,-2.485,-4.205)])

c_route_616bceaf = lib.new_cell('c_route_616bceaf')
R(c_route_616bceaf, met1, [(10.79,-3.055,11.22,-2.625), (-2.58,-2.915,11.22,-2.625), (10.79,1.075,11.22,1.505), (7.975,1.215,11.22,1.505)])
R(c_route_616bceaf, via, [(10.93,-2.915,11.08,-2.765), (10.93,1.215,11.08,1.365)])
R(c_route_616bceaf, met2, [(10.84,-3.005,11.17,-2.675), (10.84,-3.005,11.17,1.455), (10.84,1.125,11.17,1.455)])
P(c_route_616bceaf, met2, [(11.17,-3.005),(11.17,-3.005),(11.17,-2.675),(11.17,-2.675)],
  [(11.17,1.125),(11.17,1.125),(11.17,1.455),(11.17,1.455)])

via_stack_88975876 = lib.new_cell('via_stack_88975876')
R(via_stack_88975876, met1, [(-0.215,-0.215,0.215,0.215)])
R(via_stack_88975876, via, [(-0.075,-0.075,0.075,0.075)])
R(via_stack_88975876, met2, [(-0.215,-0.215,0.215,0.215), (-0.165,-0.165,0.165,0.165)])

via_stack_9687b514 = lib.new_cell('via_stack_9687b514')
R(via_stack_9687b514, met1, [(-0.75,-0.75,0.75,0.75), (-0.215,-0.215,0.215,0.215)])
R(via_stack_9687b514, via, [(-0.075,-0.075,0.075,0.075)])
R(via_stack_9687b514, met2, [(-0.29,-0.29,0.29,0.29)])
R(via_stack_9687b514, via2, [(-0.1,-0.1,0.1,0.1)])
R(via_stack_9687b514, met3, [(-0.75,-0.75,0.75,0.75)])
R(via_stack_9687b514, via3, [(-0.1,-0.1,0.1,0.1)])
R(via_stack_9687b514, met4, [(-0.17,-0.17,0.17,0.17)])

c_route_4f6fec1e = lib.new_cell('c_route_4f6fec1e')
R(c_route_4f6fec1e, met1, [(0.75,-9.005,12.45,-8.715), (12.02,-9.005,12.45,-8.575), (12.02,7.165,12.45,7.595), (5.7,7.305,12.45,7.595)])
R(c_route_4f6fec1e, via, [(12.16,-8.865,12.31,-8.715), (12.16,7.305,12.31,7.455)])
R(c_route_4f6fec1e, met2, [(12.07,-8.955,12.4,-8.625), (12.07,-8.955,12.4,7.545), (12.07,7.215,12.4,7.545)])
P(c_route_4f6fec1e, met2, [(12.4,-8.955),(12.4,-8.955),(12.4,-8.625),(12.4,-8.625)],
  [(12.4,7.215),(12.4,7.215),(12.4,7.545),(12.4,7.545)])

c_route_fa5f0aad = lib.new_cell('c_route_fa5f0aad')
R(c_route_fa5f0aad, met1, [(-12.45,-9.005,-12.02,-8.575), (-12.45,-9.005,-0.75,-8.715), (-12.45,-4.295,-12.02,-3.865), (-12.45,-4.155,-5.7,-3.865)])
R(c_route_fa5f0aad, via, [(-12.31,-8.865,-12.16,-8.715), (-12.31,-4.155,-12.16,-4.005)])
R(c_route_fa5f0aad, met2, [(-12.4,-8.955,-12.07,-8.625), (-12.4,-8.955,-12.07,-3.915), (-12.4,-4.245,-12.07,-3.915)])
P(c_route_fa5f0aad, met2, [(-12.07,-8.955),(-12.07,-8.955),(-12.07,-8.625),(-12.07,-8.625)],
  [(-12.07,-4.245),(-12.07,-4.245),(-12.07,-3.915),(-12.07,-3.915)])

shared_gate_components = lib.new_cell('shared_gate_components')
shared_gate_components.add(gdstk.Reference(multiplier_4986c36a, (-6.17,0.07)))
shared_gate_components.add(gdstk.Reference(multiplier_959d3e46, (-2.38,0.07)))
shared_gate_components.add(gdstk.Reference(multiplier_959d3e46, (2.38,0.07)))
shared_gate_components.add(gdstk.Reference(multiplier_8fab6b0f, (6.17,0.07)))
shared_gate_components.add(gdstk.Reference(c_2_multiplier_shared_gate, (0,5.73)))
shared_gate_components.add(gdstk.Reference(c_2_multiplier_shared_gate, (0,-5.73)))
shared_gate_components.add(gdstk.Reference(straight_route_f8080a40, (0,0)))
shared_gate_components.add(gdstk.Reference(straight_route_f2448084, (0,0)))
shared_gate_components.add(gdstk.Reference(route_quad_57c62cf1, (0,0)))
shared_gate_components.add(gdstk.Reference(route_quad_e3deefbc, (0,0)))
shared_gate_components.add(gdstk.Reference(route_quad_7fa40f03, (0,0)))
shared_gate_components.add(gdstk.Reference(route_quad_b2d2a3af, (0,0)))
shared_gate_components.add(gdstk.Reference(via_stack_78128d58, (0,2.005)))
shared_gate_components.add(gdstk.Reference(route_quad_0aa4d09d, (0,0)))
shared_gate_components.add(gdstk.Reference(c_route_1f2bf46b, (0,0)))
shared_gate_components.add(gdstk.Reference(c_route_f2792d0d, (0,0)))
shared_gate_components.add(gdstk.Reference(straight_route_4a56aab8, (0,0)))
shared_gate_components.add(gdstk.Reference(straight_route_7cc3166f, (0,0)))
shared_gate_components.add(gdstk.Reference(l_route_c565a16c, (0,0)))
shared_gate_components.add(gdstk.Reference(straight_route_10940f7b, (0,0)))
shared_gate_components.add(gdstk.Reference(c_route_be60ab30, (0,0)))
shared_gate_components.add(gdstk.Reference(unnamed_87dc03cf, (4.58,-3.605)))
shared_gate_components.add(gdstk.Reference(straight_route_dfcc8ceb, (0,0)))
shared_gate_components.add(gdstk.Reference(l_route_fee57e38, (0,0)))
shared_gate_components.add(gdstk.Reference(c_route_1b7dc996, (0,0)))
shared_gate_components.add(gdstk.Reference(l_route_8ffb441c, (0,0)))
shared_gate_components.add(gdstk.Reference(c_route_616bceaf, (0,0)))
shared_gate_components.add(gdstk.Reference(via_stack_88975876, (-2.51,-2.555)))
shared_gate_components.add(gdstk.Reference(via_stack_9687b514, (0,-8.86)))
shared_gate_components.add(gdstk.Reference(c_route_4f6fec1e, (0,0)))
shared_gate_components.add(gdstk.Reference(c_route_fa5f0aad, (0,0)))

lib.write_gds('shared_gate_components.gds')
